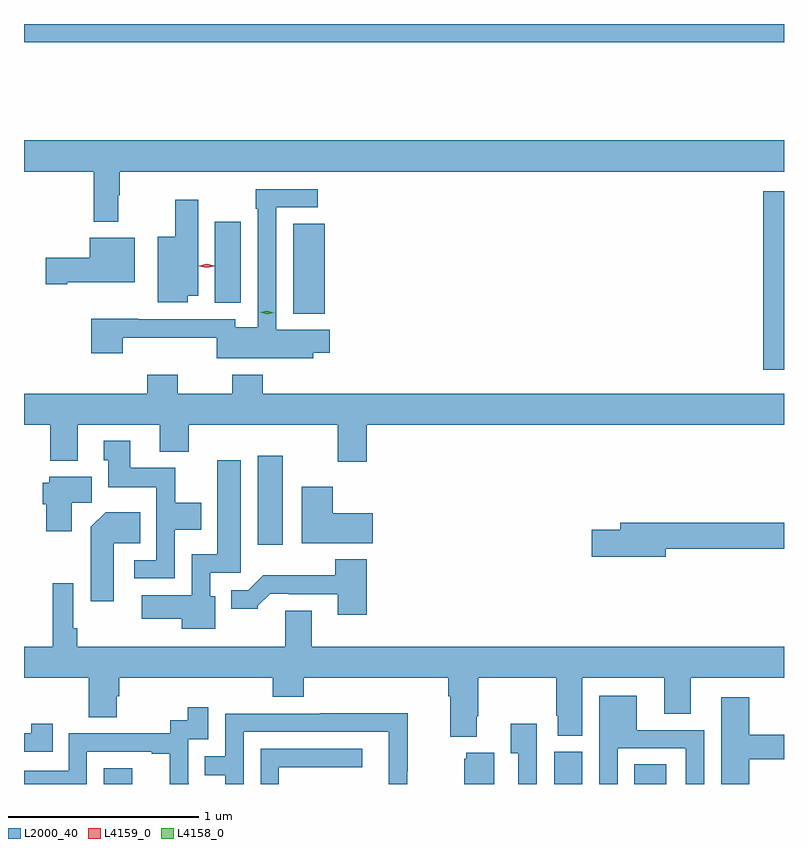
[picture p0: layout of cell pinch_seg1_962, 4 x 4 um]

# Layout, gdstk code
import gdstk
lib = gdstk.Library(unit=1e-6, precision=1e-09)
def R(c, l, rs):  # rectangles x0, y0, x1, y1
    for r in rs: c.add(gdstk.rectangle(r[:2], r[2:], *l))
def P(c, l, *ps):  # polygons
    for p in ps: c.add(gdstk.Polygon(p, *l))
L2000_40 = (2000, 40)
L4158_0 = (4158, 0)
L4159_0 = (4159, 0)

pinch_seg1_962 = lib.new_cell('pinch_seg1_962')
R(pinch_seg1_962, L2000_40, [(261.78,519.205,261.928,519.289), (264.149,519.205,264.298,519.375), (264.572,519.205,264.739,519.308), (262.589,520.464,262.72,520.933), (265.25,521.385,265.359,522.325), (262.775,521.681,262.942,522.155), (262.364,521.737,262.501,522.163), (261.359,523.108,265.359,523.205)])
P(pinch_seg1_962, L2000_40, [(261.856,522.305),(261.863,522.305),(261.863,522.428),(265.359,522.428),(265.359,522.592),(261.359,522.592),(261.359,522.428),(261.727,522.428),(261.727,522.165),(261.856,522.165)],
  [(262.881,521.474),(262.969,521.474),(262.969,521.596),(262.686,521.596),(262.686,522.24),(262.906,522.24),(262.906,522.336),(262.578,522.336),(262.578,522.233),(262.59,522.233),(262.59,521.608),(262.47,521.608),(262.47,521.652),(261.961,521.652),(261.961,521.654),(261.713,521.654),(261.713,521.472),(261.878,521.472),(261.878,521.555),(262.374,521.555),(262.374,521.447),(262.881,521.447)],
  [(262.222,521.774),(262.276,521.774),(262.276,522.28),(262.154,522.28),(262.154,522.085),(262.064,522.085),(262.064,521.741),(262.222,521.741)],
  [(261.586,521.846),(261.943,521.846),(261.943,522.079),(261.704,522.079),(261.704,521.976),(261.474,521.976),(261.474,521.834),(261.586,521.834)],
  [(263.162,521.096),(265.359,521.096),(265.359,521.26),(262.616,521.26),(262.616,521.359),(262.456,521.359),(262.456,521.26),(262.167,521.26),(262.167,521.359),(262.007,521.359),(262.007,521.26),(261.359,521.26),(261.359,521.096),(261.496,521.096),(261.496,520.907),(261.643,520.907),(261.643,521.096),(262.073,521.096),(262.073,520.955),(262.226,520.955),(262.226,521.096),(263.009,521.096),(263.009,520.902),(263.162,520.902)],
  [(262.152,520.544),(262.291,520.544),(262.291,520.684),(262.155,520.684),(262.155,520.87),(261.919,520.87),(261.919,521.011),(261.779,521.011),(261.779,520.908),(261.803,520.908),(261.803,520.766),(262.056,520.766),(262.056,520.383),(261.939,520.383),(261.939,520.287),(262.152,520.287)],
  [(262.366,520.194),(262.338,520.194),(262.338,520.317),(262.501,520.317),(262.501,520.909),(262.376,520.909),(262.376,520.414),(262.242,520.414),(262.242,520.198),(261.978,520.198),(261.978,520.076),(262.19,520.076),(262.19,520.022),(262.366,520.022)],
  [(261.61,520.684),(261.715,520.684),(261.715,520.822),(261.492,520.822),(261.492,520.791),(261.458,520.791),(261.458,520.677),(261.476,520.677),(261.476,520.536),(261.61,520.536)],
  [(263.194,520.63),(262.984,520.63),(262.984,520.77),(262.82,520.77),(262.82,520.472),(263.194,520.472)],
  [(261.832,520.472),(261.971,520.472),(261.971,520.636),(261.788,520.636),(261.71,520.558),(261.71,520.167),(261.832,520.167)],
  [(264.736,520.444),(265.359,520.444),(265.359,520.58),(264.497,520.58),(264.497,520.544),(264.348,520.544),(264.348,520.402),(264.736,520.402)],
  [(263.162,520.387),(262.997,520.387),(262.997,520.303),(262.618,520.303),(262.539,520.224),(262.451,520.224),(262.451,520.127),(262.59,520.127),(262.59,520.142),(262.654,520.206),(262.753,520.206),(262.753,520.203),(263.009,520.203),(263.009,520.097),(263.162,520.097)],
  [(263.743,519.562),(263.751,519.562),(263.751,519.764),(264.16,519.764),(264.16,519.565),(264.167,519.565),(264.167,519.46),(264.298,519.46),(264.298,519.764),(264.728,519.764),(264.728,519.574),(264.868,519.574),(264.868,519.764),(265.359,519.764),(265.359,519.928),(262.873,519.928),(262.873,520.118),(262.733,520.118),(262.733,519.928),(261.638,519.928),(261.638,520.024),(261.618,520.024),(261.618,520.261),(261.51,520.261),(261.51,519.928),(261.359,519.928),(261.359,519.764),(261.7,519.764),(261.7,519.556),(261.847,519.556),(261.847,519.666),(261.86,519.666),(261.86,519.764),(262.667,519.764),(262.667,519.665),(262.832,519.665),(262.832,519.764),(263.591,519.764),(263.591,519.668),(263.603,519.668),(263.603,519.455),(263.743,519.455)],
  [(264.483,519.393),(264.843,519.393),(264.843,519.205),(264.939,519.205),(264.939,519.489),(264.583,519.489),(264.583,519.67),(264.387,519.67),(264.387,519.205),(264.483,519.205)],
  [(265.175,519.334),(265.359,519.334),(265.359,519.463),(265.175,519.463),(265.175,519.661),(265.028,519.661),(265.028,519.205),(265.175,519.205)],
  [(261.69,519.375),(262.031,519.375),(262.031,519.363),(262.127,519.363),(262.127,519.205),(262.226,519.205),(262.226,519.212),(262.224,519.212),(262.224,519.441),(262.329,519.441),(262.329,519.61),(262.221,519.61),(262.221,519.54),(262.128,519.54),(262.128,519.471),(261.594,519.471),(261.594,519.276),(261.359,519.276),(261.359,519.205),(261.69,519.205)],
  [(262.515,519.48),(263.28,519.48),(263.28,519.205),(263.376,519.205),(263.376,519.271),(263.379,519.271),(263.379,519.578),(262.915,519.578),(262.915,519.576),(262.419,519.576),(262.419,519.351),(262.309,519.351),(262.309,519.25),(262.419,519.25),(262.419,519.205),(262.515,519.205)],
  [(261.509,519.523),(261.398,519.523),(261.398,519.471),(261.359,519.471),(261.359,519.375),(261.509,519.375)],
  [(264.057,519.523),(263.921,519.523),(263.921,519.367),(263.961,519.367),(263.961,519.205),(264.057,519.205)],
  [(262.701,519.294),(263.14,519.294),(263.14,519.39),(262.605,519.39),(262.605,519.205),(262.701,519.205)],
  [(263.833,519.37),(263.687,519.37),(263.687,519.339),(263.675,519.339),(263.675,519.205),(263.833,519.205)])
P(pinch_seg1_962, L4158_0, [(262.637,521.677),(262.603,521.688),(262.603,521.688),(262.603,521.688),(262.638,521.697),(262.673,521.686),(262.673,521.686),(262.673,521.686)])
P(pinch_seg1_962, L4159_0, [(262.321,521.922),(262.281,521.931),(262.281,521.932),(262.281,521.932),(262.321,521.942),(262.361,521.932),(262.361,521.932),(262.361,521.931)])

lib.write_gds('pinch_seg1_962.gds')
